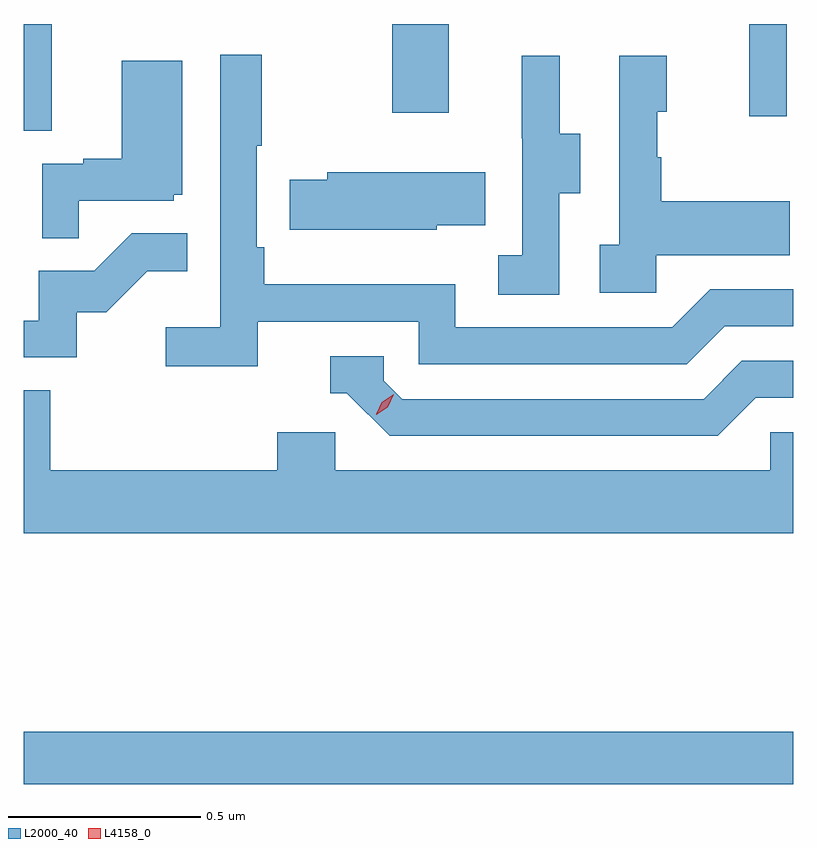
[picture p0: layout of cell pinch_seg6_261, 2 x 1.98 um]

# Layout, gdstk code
import gdstk
lib = gdstk.Library(unit=1e-6, precision=1e-09)
def R(c, l, rs):  # rectangles x0, y0, x1, y1
    for r in rs: c.add(gdstk.rectangle(r[:2], r[2:], *l))
def P(c, l, *ps):  # polygons
    for p in ps: c.add(gdstk.Polygon(p, *l))
L2000_40 = (2000, 40)
L4158_0 = (4158, 0)

pinch_seg6_261 = lib.new_cell('pinch_seg6_261')
R(pinch_seg6_261, L2000_40, [(1104.372,921.376,1106.372,921.512), (1104.372,923.074,1104.445,923.352), (1106.258,923.112,1106.355,923.352), (1105.33,923.121,1105.477,923.352)])
P(pinch_seg6_261, L2000_40, [(1104.98,922.578),(1105.398,922.578),(1105.398,922.467),(1106.095,922.467),(1106.194,922.566),(1106.372,922.566),(1106.372,922.662),(1106.157,922.662),(1106.058,922.563),(1105.494,922.563),(1105.494,922.675),(1104.997,922.675),(1104.997,922.771),(1104.978,922.771),(1104.978,923.035),(1104.991,923.035),(1104.991,923.272),(1104.882,923.272),(1104.882,922.564),(1104.741,922.564),(1104.741,922.462),(1104.98,922.462)],
  [(1105.764,922.912),(1105.819,922.912),(1105.819,923.067),(1105.765,923.067),(1105.765,923.269),(1105.667,923.269),(1105.667,923.055),(1105.668,923.055),(1105.668,922.751),(1105.605,922.751),(1105.605,922.648),(1105.764,922.648)],
  [(1106.016,922.751),(1106.363,922.751),(1106.363,922.891),(1106.029,922.891),(1106.029,923.006),(1106.019,923.006),(1106.019,923.124),(1106.044,923.124),(1106.044,923.269),(1105.92,923.269),(1105.92,922.778),(1105.869,922.778),(1105.869,922.653),(1106.016,922.653)],
  [(1104.515,922.893),(1104.762,922.893),(1104.762,922.908),(1104.784,922.908),(1104.784,923.257),(1104.626,923.257),(1104.626,923.002),(1104.527,923.002),(1104.527,922.989),(1104.42,922.989),(1104.42,922.795),(1104.515,922.795)],
  [(1105.446,922.829),(1105.571,922.829),(1105.571,922.966),(1105.161,922.966),(1105.161,922.947),(1105.063,922.947),(1105.063,922.817),(1105.446,922.817)],
  [(1104.51,922.602),(1104.586,922.602),(1104.693,922.709),(1104.797,922.709),(1104.797,922.808),(1104.653,922.808),(1104.555,922.71),(1104.411,922.71),(1104.411,922.581),(1104.372,922.581),(1104.372,922.485),(1104.51,922.485)],
  [(1106.275,922.38),(1106.372,922.38),(1106.372,922.476),(1106.238,922.476),(1106.139,922.377),(1105.356,922.377),(1105.308,922.425),(1105.308,922.488),(1105.169,922.488),(1105.169,922.392),(1105.212,922.392),(1105.323,922.281),(1106.176,922.281)],
  [(1106.372,922.29),(1106.313,922.29),(1106.313,922.192),(1105.182,922.192),(1105.182,922.29),(1105.031,922.29),(1105.031,922.192),(1104.44,922.192),(1104.44,922.4),(1104.372,922.4),(1104.372,922.028),(1106.372,922.028)])
P(pinch_seg6_261, L4158_0, [(1105.288,922.336),(1105.288,922.337),(1105.303,922.369),(1105.334,922.389),(1105.334,922.389),(1105.334,922.389),(1105.318,922.356),(1105.288,922.336)])

lib.write_gds('pinch_seg6_261.gds')
